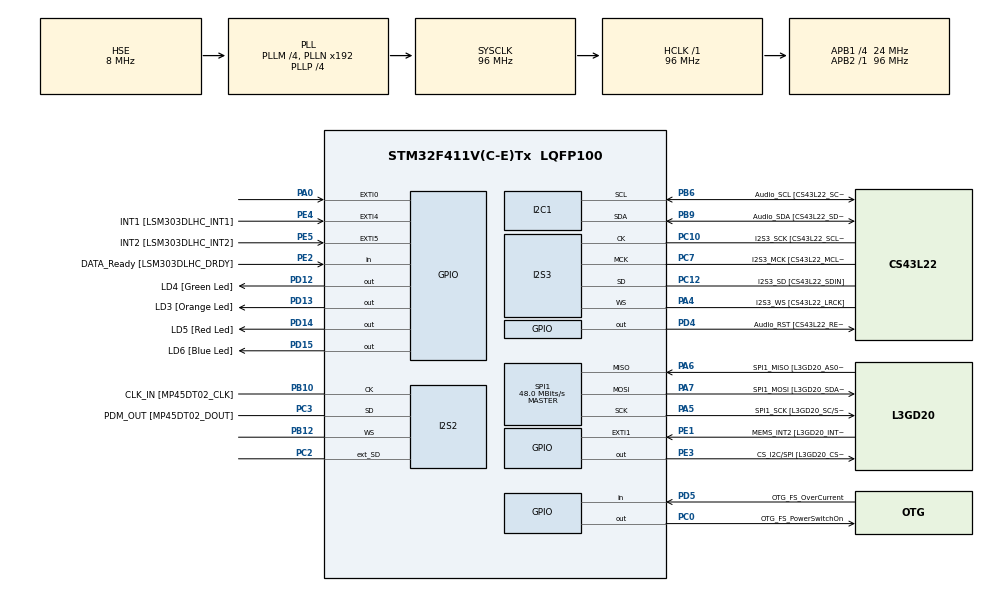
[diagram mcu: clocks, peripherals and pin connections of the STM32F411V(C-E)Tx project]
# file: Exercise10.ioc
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FREERTOS.BinarySemaphores01=CriticalResourceSemaphore,Dynamic,NULL
FREERTOS.Tasks01=GreenLEDTask,0,128,StartGreenLEDTask,Default,NULL,Dynamic,NULL,NULL;RedLEDTask,0,128,StartRedLEDTask,Default,NULL,Dynamic,NULL,NULL;OrangeLEDTask,1,128,StartOrangeLEDTask,Default,NULL,Dynamic,NULL,NULL
I2S2.AudioFreq=I2S_AUDIOFREQ_96K
I2S2.ErrorAudioFreq=0.15 %
I2S2.FullDuplexMode=I2S_FULLDUPLEXMODE_ENABLE
I2S2.Instance=SPI$Index
I2S2.RealAudioFreq=96.153 KHz
I2S2.VirtualMode=I2S_MODE_MASTER
I2S3.AudioFreq=I2S_AUDIOFREQ_96K
I2S3.ErrorAudioFreq=-6.99 %
I2S3.FullDuplexMode=I2S_FULLDUPLEXMODE_DISABLE
I2S3.Instance=SPI$Index
I2S3.RealAudioFreq=89.285 KHz
I2S3.VirtualMode=I2S_MODE_MASTER
Mcu.Family=STM32F4
Mcu.Name=STM32F411V(C-E)Tx
Mcu.Package=LQFP100
NVIC.PriorityGroup=NVIC_PRIORITYGROUP_4
NVIC.TIM1_UP_TIM10_IRQn=true\:0\:0\:false\:false\:true\:false\:false\:true
NVIC.TimeBase=TIM1_UP_TIM10_IRQn
NVIC.TimeBaseIP=TIM1
PA0-WKUP.GPIO_ModeDefaultEXTI=GPIO_MODE_EVT_RISING
PA0-WKUP.Signal=GPXTI0
PA10.GPIO_Label=OTG_FS_ID
PA10.Signal=USB_OTG_FS_ID
PA11.GPIO_Label=OTG_FS_DM
PA11.Signal=USB_OTG_FS_DM
PA12.GPIO_Label=OTG_FS_DP
PA12.Signal=USB_OTG_FS_DP
PA13.GPIO_Label=SWDIO
PA13.Mode=Serial_Wire
PA13.Signal=SYS_JTMS-SWDIO
PA14.GPIO_Label=SWCLK
PA14.Mode=Serial_Wire
PA14.Signal=SYS_JTCK-SWCLK
PA4.GPIO_Label=I2S3_WS [CS43L22_LRCK]
PA4.GPIO_Mode=GPIO_MODE_AF_PP
PA4.GPIO_PuPd=GPIO_NOPULL
PA4.GPIO_Speed=GPIO_SPEED_FREQ_LOW
PA4.Mode=Half_Duplex_Master
PA4.Signal=I2S3_WS
PA5.GPIO_Label=SPI1_SCK [L3GD20_SC/SPC]
PA5.Mode=Full_Duplex_Master
PA5.Signal=SPI1_SCK
PA6.GPIO_Label=SPI1_MISO [L3GD20_AS0/SDO]
PA6.Mode=Full_Duplex_Master
PA6.Signal=SPI1_MISO
PA7.GPIO_Label=SPI1_MOSI [L3GD20_SDA/SDI/SDO]
PA7.Mode=Full_Duplex_Master
PA7.Signal=SPI1_MOSI
PA9.GPIO_Label=VBUS_FS
PA9.Signal=USB_OTG_FS_VBUS
PB10.GPIO_Label=CLK_IN [MP45DT02_CLK]
PB10.Mode=Full_Duplex_Master
PB10.Signal=I2S2_CK
PB12.Mode=Full_Duplex_Master
PB12.Signal=I2S2_WS
PB3.GPIO_Label=SWO
PB3.Signal=SYS_JTDO-SWO
PB6.GPIO_Label=Audio_SCL [CS43L22_SCL]
PB6.GPIO_Mode=GPIO_MODE_AF_OD
PB6.GPIO_PuPd=GPIO_NOPULL
PB6.GPIO_Speed=GPIO_SPEED_FREQ_LOW
PB6.Mode=I2C
PB6.Signal=I2C1_SCL
PB9.GPIO_Label=Audio_SDA [CS43L22_SDA]
PB9.GPIO_Mode=GPIO_MODE_AF_OD
PB9.GPIO_PuPd=GPIO_NOPULL
PB9.GPIO_Speed=GPIO_SPEED_FREQ_LOW
PB9.Mode=I2C
PB9.Signal=I2C1_SDA
PC0.GPIO_Label=OTG_FS_PowerSwitchOn
PC0.PinState=GPIO_PIN_SET
PC0.Signal=GPIO_Output
PC10.GPIO_Label=I2S3_SCK [CS43L22_SCLK]
PC10.GPIO_Mode=GPIO_MODE_AF_PP
PC10.GPIO_PuPd=GPIO_NOPULL
PC10.GPIO_Speed=GPIO_SPEED_FREQ_LOW
PC10.Mode=Half_Duplex_Master
PC10.Signal=I2S3_CK
PC12.GPIO_Label=I2S3_SD [CS43L22_SDIN]
PC12.GPIO_Mode=GPIO_MODE_AF_PP
PC12.GPIO_PuPd=GPIO_NOPULL
PC12.GPIO_Speed=GPIO_SPEED_FREQ_LOW
PC12.Mode=Half_Duplex_Master
PC12.Signal=I2S3_SD
PC14-OSC32_IN.GPIO_Label=PC14-OSC32_IN
PC14-OSC32_IN.Mode=LSE-External-Oscillator
PC14-OSC32_IN.Signal=RCC_OSC32_IN
PC15-OSC32_OUT.GPIO_Label=PC15-OSC32_OUT
PC15-OSC32_OUT.Mode=LSE-External-Oscillator
PC15-OSC32_OUT.Signal=RCC_OSC32_OUT
PC2.Mode=Full_Duplex_Master
PC2.Signal=I2S2_ext_SD
PC3.GPIO_Label=PDM_OUT [MP45DT02_DOUT]
PC3.Mode=Full_Duplex_Master
PC3.Signal=I2S2_SD
PC7.GPIO_Label=I2S3_MCK [CS43L22_MCLK]
PC7.GPIO_Mode=GPIO_MODE_AF_PP
PC7.GPIO_PuPd=GPIO_NOPULL
PC7.GPIO_Speed=GPIO_SPEED_FREQ_LOW
PC7.Mode=Master_Clock_Activated
PC7.Signal=I2S3_MCK
PD12.GPIO_Label=LD4 [Green Led]
PD12.GPIO_PuPd=GPIO_NOPULL
PD12.GPIO_Speed=GPIO_SPEED_FREQ_LOW
PD12.Signal=GPIO_Output
PD13.GPIO_Label=LD3 [Orange Led]
PD13.GPIO_PuPd=GPIO_NOPULL
PD13.GPIO_Speed=GPIO_SPEED_FREQ_LOW
PD13.Signal=GPIO_Output
PD14.GPIO_Label=LD5 [Red Led]
PD14.GPIO_PuPd=GPIO_NOPULL
PD14.GPIO_Speed=GPIO_SPEED_FREQ_LOW
PD14.Signal=GPIO_Output
PD15.GPIO_Label=LD6 [Blue Led]
PD15.GPIO_PuPd=GPIO_NOPULL
PD15.GPIO_Speed=GPIO_SPEED_FREQ_LOW
PD15.Signal=GPIO_Output
PD4.GPIO_Label=Audio_RST [CS43L22_RESET]
PD4.Signal=GPIO_Output
PD5.GPIO_Label=OTG_FS_OverCurrent
PD5.Signal=GPIO_Input
PE1.GPIO_Label=MEMS_INT2 [L3GD20_INT2]
PE1.GPIO_ModeDefaultEXTI=GPIO_MODE_EVT_RISING
PE1.Signal=GPXTI1
PE2.GPIO_Label=DATA_Ready [LSM303DLHC_DRDY]
PE2.Signal=GPIO_Input
PE3.GPIO_Label=CS_I2C/SPI [L3GD20_CS_I2C/SPI]
PE3.Signal=GPIO_Output
PE4.GPIO_Label=INT1 [LSM303DLHC_INT1]
PE4.GPIO_ModeDefaultEXTI=GPIO_MODE_EVT_RISING
PE4.Signal=GPXTI4
PE5.GPIO_Label=INT2 [LSM303DLHC_INT2]
PE5.GPIO_ModeDefaultEXTI=GPIO_MODE_EVT_RISING
PE5.Signal=GPXTI5
PH0\ -\ OSC_IN.GPIO_Label=PH0-OSC_IN
PH0\ -\ OSC_IN.Mode=HSE-External-Oscillator
PH0\ -\ OSC_IN.Signal=RCC_OSC_IN
PH1\ -\ OSC_OUT.GPIO_Label=PH1-OSC_OUT
PH1\ -\ OSC_OUT.Mode=HSE-External-Oscillator
PH1\ -\ OSC_OUT.Signal=RCC_OSC_OUT
ProjectManager.HeapSize=0x200
ProjectManager.StackSize=0x400
ProjectManager.TargetToolchain=STM32CubeIDE
RCC.48MHZClocksFreq_Value=48000000
RCC.AHBFreq_Value=96000000
RCC.APB1CLKDivider=RCC_HCLK_DIV4
RCC.APB1Freq_Value=24000000
RCC.APB1TimFreq_Value=48000000
RCC.APB2Freq_Value=96000000
RCC.APB2TimFreq_Value=96000000
RCC.CortexFreq_Value=96000000
RCC.HCLKFreq_Value=96000000
RCC.HSE_VALUE=8000000
RCC.HSI_VALUE=16000000
RCC.PLLI2SM=5
RCC.PLLI2SN=200
RCC.PLLM=4
RCC.PLLP=RCC_PLLP_DIV4
RCC.PLLQ=8
RCC.PLLSourceVirtual=RCC_PLLSOURCE_HSE
RCC.SYSCLKFreq_VALUE=96000000
RCC.SYSCLKSource=RCC_SYSCLKSOURCE_PLLCLK
RCC.VCOOutputFreq_Value=384000000
SPI1.BaudRatePrescaler=SPI_BAUDRATEPRESCALER_2
SPI1.CalculateBaudRate=48.0 MBits/s
SPI1.Direction=SPI_DIRECTION_2LINES
SPI1.Mode=SPI_MODE_MASTER
SPI1.VirtualType=VM_MASTER
VP_FREERTOS_VS_CMSIS_V1.Mode=CMSIS_V1
VP_SYS_VS_tim1.Mode=TIM1
board=STM32F411E-DISCO

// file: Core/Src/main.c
/* USER CODE BEGIN Header */
/**
  ******************************************************************************
  * @file           : main.c
  * @brief          : Main program body
  ******************************************************************************
  * @attention
  *
  * <h2><center>&copy; Copyright (c) 2024 STMicroelectronics.
  * All rights reserved.</center></h2>
  *
  * This software component is licensed by ST under Ultimate Liberty license
  * SLA0044, the "License"; You may not use this file except in compliance with
  * the License. You may obtain a copy of the License at:
  *                             www.st.com/SLA0044
  *
  ******************************************************************************
  */
/* USER CODE END Header */

#include "main.h"
#include "cmsis_os.h"

I2C_HandleTypeDef hi2c1;

I2S_HandleTypeDef hi2s2;
I2S_HandleTypeDef hi2s3;

SPI_HandleTypeDef hspi1;

osThreadId GreenLEDTaskHandle;
osThreadId RedLEDTaskHandle;
osThreadId OrangeLEDTaskHandle;
osSemaphoreId CriticalResourceSemaphoreHandle;

void SystemClock_Config(void);
static void MX_GPIO_Init(void);
static void MX_I2C1_Init(void);
static void MX_I2S2_Init(void);
static void MX_I2S3_Init(void);
static void MX_SPI1_Init(void);
void StartGreenLEDTask(void const * argument);
void StartRedLEDTask(void const * argument);
void StartOrangeLEDTask(void const * argument);

int main(void)
{

  /* MCU Configuration--------------------------------------------------------*/

  /* Reset of all peripherals, Initializes the Flash interface and the Systick. */
  HAL_Init();

  /* Configure the system clock */
  SystemClock_Config();

  /* Initialize all configured peripherals */
  MX_GPIO_Init();
  MX_I2C1_Init();
  MX_I2S2_Init();
  MX_I2S3_Init();
  MX_SPI1_Init();

  /* Create the semaphores(s) */
  /* definition and creation of CriticalResourceSemaphore */
  osSemaphoreDef(CriticalResourceSemaphore);
  CriticalResourceSemaphoreHandle = osSemaphoreCreate(osSemaphore(CriticalResourceSemaphore), 1);

  /* Create the thread(s) */
  /* definition and creation of GreenLEDTask */
  osThreadDef(GreenLEDTask, StartGreenLEDTask, osPriorityNormal, 0, 128);
  GreenLEDTaskHandle = osThreadCreate(osThread(GreenLEDTask), NULL);

  /* definition and creation of RedLEDTask */
  osThreadDef(RedLEDTask, StartRedLEDTask, osPriorityNormal, 0, 128);
  RedLEDTaskHandle = osThreadCreate(osThread(RedLEDTask), NULL);

  /* definition and creation of OrangeLEDTask */
  osThreadDef(OrangeLEDTask, StartOrangeLEDTask, osPriorityAboveNormal, 0, 128);
  OrangeLEDTaskHandle = osThreadCreate(osThread(OrangeLEDTask), NULL);

  /* Start scheduler */
  osKernelStart();

  /* We should never get here as control is now taken by the scheduler */

  /* Infinite loop */
  while (1)
  {

  }
}

void SystemClock_Config(void)
{
  RCC_OscInitTypeDef RCC_OscInitStruct = {0};
  RCC_ClkInitTypeDef RCC_ClkInitStruct = {0};
  RCC_PeriphCLKInitTypeDef PeriphClkInitStruct = {0};

  /** Configure the main internal regulator output voltage
  */
  __HAL_RCC_PWR_CLK_ENABLE();
  __HAL_PWR_VOLTAGESCALING_CONFIG(PWR_REGULATOR_VOLTAGE_SCALE1);
  /** Initializes the CPU, AHB and APB busses clocks
  */
  RCC_OscInitStruct.OscillatorType = RCC_OSCILLATORTYPE_HSE;
  RCC_OscInitStruct.HSEState = RCC_HSE_ON;
  RCC_OscInitStruct.PLL.PLLState = RCC_PLL_ON;
  RCC_OscInitStruct.PLL.PLLSource = RCC_PLLSOURCE_HSE;
  RCC_OscInitStruct.PLL.PLLM = 4;
  RCC_OscInitStruct.PLL.PLLN = 192;
  RCC_OscInitStruct.PLL.PLLP = RCC_PLLP_DIV4;
  RCC_OscInitStruct.PLL.PLLQ = 8;
  if (HAL_RCC_OscConfig(&RCC_OscInitStruct) != HAL_OK)
  {
    Error_Handler();
  }
  /** Initializes the CPU, AHB and APB busses clocks
  */
  RCC_ClkInitStruct.ClockType = RCC_CLOCKTYPE_HCLK|RCC_CLOCKTYPE_SYSCLK
                              |RCC_CLOCKTYPE_PCLK1|RCC_CLOCKTYPE_PCLK2;
  RCC_ClkInitStruct.SYSCLKSource = RCC_SYSCLKSOURCE_PLLCLK;
  RCC_ClkInitStruct.AHBCLKDivider = RCC_SYSCLK_DIV1;
  RCC_ClkInitStruct.APB1CLKDivider = RCC_HCLK_DIV4;
  RCC_ClkInitStruct.APB2CLKDivider = RCC_HCLK_DIV1;

  if (HAL_RCC_ClockConfig(&RCC_ClkInitStruct, FLASH_LATENCY_3) != HAL_OK)
  {
    Error_Handler();
  }
  PeriphClkInitStruct.PeriphClockSelection = RCC_PERIPHCLK_I2S;
  PeriphClkInitStruct.PLLI2S.PLLI2SN = 200;
  PeriphClkInitStruct.PLLI2S.PLLI2SM = 5;
  PeriphClkInitStruct.PLLI2S.PLLI2SR = 2;
  if (HAL_RCCEx_PeriphCLKConfig(&PeriphClkInitStruct) != HAL_OK)
  {
    Error_Handler();
  }
}

static void MX_I2C1_Init(void)
{

  hi2c1.Instance = I2C1;
  hi2c1.Init.ClockSpeed = 100000;
  hi2c1.Init.DutyCycle = I2C_DUTYCYCLE_2;
  hi2c1.Init.OwnAddress1 = 0;
  hi2c1.Init.AddressingMode = I2C_ADDRESSINGMODE_7BIT;
  hi2c1.Init.DualAddressMode = I2C_DUALADDRESS_DISABLE;
  hi2c1.Init.OwnAddress2 = 0;
  hi2c1.Init.GeneralCallMode = I2C_GENERALCALL_DISABLE;
  hi2c1.Init.NoStretchMode = I2C_NOSTRETCH_DISABLE;
  if (HAL_I2C_Init(&hi2c1) != HAL_OK)
  {
    Error_Handler();
  }

}

static void MX_I2S2_Init(void)
{

  hi2s2.Instance = SPI2;
  hi2s2.Init.Mode = I2S_MODE_MASTER_TX;
  hi2s2.Init.Standard = I2S_STANDARD_PHILIPS;
  hi2s2.Init.DataFormat = I2S_DATAFORMAT_16B;
  hi2s2.Init.MCLKOutput = I2S_MCLKOUTPUT_DISABLE;
  hi2s2.Init.AudioFreq = I2S_AUDIOFREQ_96K;
  hi2s2.Init.CPOL = I2S_CPOL_LOW;
  hi2s2.Init.ClockSource = I2S_CLOCK_PLL;
  hi2s2.Init.FullDuplexMode = I2S_FULLDUPLEXMODE_ENABLE;
  if (HAL_I2S_Init(&hi2s2) != HAL_OK)
  {
    Error_Handler();
  }

}

static void MX_I2S3_Init(void)
{

  hi2s3.Instance = SPI3;
  hi2s3.Init.Mode = I2S_MODE_MASTER_TX;
  hi2s3.Init.Standard = I2S_STANDARD_PHILIPS;
  hi2s3.Init.DataFormat = I2S_DATAFORMAT_16B;
  hi2s3.Init.MCLKOutput = I2S_MCLKOUTPUT_ENABLE;
  hi2s3.Init.AudioFreq = I2S_AUDIOFREQ_96K;
  hi2s3.Init.CPOL = I2S_CPOL_LOW;
  hi2s3.Init.ClockSource = I2S_CLOCK_PLL;
  hi2s3.Init.FullDuplexMode = I2S_FULLDUPLEXMODE_DISABLE;
  if (HAL_I2S_Init(&hi2s3) != HAL_OK)
  {
    Error_Handler();
  }

}

static void MX_SPI1_Init(void)
{

  /* SPI1 parameter configuration*/
  hspi1.Instance = SPI1;
  hspi1.Init.Mode = SPI_MODE_MASTER;
  hspi1.Init.Direction = SPI_DIRECTION_2LINES;
  hspi1.Init.DataSize = SPI_DATASIZE_8BIT;
  hspi1.Init.CLKPolarity = SPI_POLARITY_LOW;
  hspi1.Init.CLKPhase = SPI_PHASE_1EDGE;
  hspi1.Init.NSS = SPI_NSS_SOFT;
  hspi1.Init.BaudRatePrescaler = SPI_BAUDRATEPRESCALER_2;
  hspi1.Init.FirstBit = SPI_FIRSTBIT_MSB;
  hspi1.Init.TIMode = SPI_TIMODE_DISABLE;
  hspi1.Init.CRCCalculation = SPI_CRCCALCULATION_DISABLE;
  hspi1.Init.CRCPolynomial = 10;
  if (HAL_SPI_Init(&hspi1) != HAL_OK)
  {
    Error_Handler();
  }

}

static void MX_GPIO_Init(void)
{
  GPIO_InitTypeDef GPIO_InitStruct = {0};

  /* GPIO Ports Clock Enable */
  __HAL_RCC_GPIOE_CLK_ENABLE();
  __HAL_RCC_GPIOC_CLK_ENABLE();
  __HAL_RCC_GPIOH_CLK_ENABLE();
  __HAL_RCC_GPIOA_CLK_ENABLE();
  __HAL_RCC_GPIOB_CLK_ENABLE();
  __HAL_RCC_GPIOD_CLK_ENABLE();

  /*Configure GPIO pin Output Level */
  HAL_GPIO_WritePin(CS_I2C_SPI_GPIO_Port, CS_I2C_SPI_Pin, GPIO_PIN_RESET);

  /*Configure GPIO pin Output Level */
  HAL_GPIO_WritePin(OTG_FS_PowerSwitchOn_GPIO_Port, OTG_FS_PowerSwitchOn_Pin, GPIO_PIN_SET);

  /*Configure GPIO pin Output Level */
  HAL_GPIO_WritePin(GPIOD, LD4_Pin|LD3_Pin|LD5_Pin|LD6_Pin
                          |Audio_RST_Pin, GPIO_PIN_RESET);

  /*Configure GPIO pin : DATA_Ready_Pin */
  GPIO_InitStruct.Pin = DATA_Ready_Pin;
  GPIO_InitStruct.Mode = GPIO_MODE_INPUT;
  GPIO_InitStruct.Pull = GPIO_NOPULL;
  HAL_GPIO_Init(DATA_Ready_GPIO_Port, &GPIO_InitStruct);

  /*Configure GPIO pin : CS_I2C_SPI_Pin */
  GPIO_InitStruct.Pin = CS_I2C_SPI_Pin;
  GPIO_InitStruct.Mode = GPIO_MODE_OUTPUT_PP;
  GPIO_InitStruct.Pull = GPIO_NOPULL;
  GPIO_InitStruct.Speed = GPIO_SPEED_FREQ_LOW;
  HAL_GPIO_Init(CS_I2C_SPI_GPIO_Port, &GPIO_InitStruct);

  /*Configure GPIO pins : INT1_Pin INT2_Pin MEMS_INT2_Pin */
  GPIO_InitStruct.Pin = INT1_Pin|INT2_Pin|MEMS_INT2_Pin;
  GPIO_InitStruct.Mode = GPIO_MODE_EVT_RISING;
  GPIO_InitStruct.Pull = GPIO_NOPULL;
  HAL_GPIO_Init(GPIOE, &GPIO_InitStruct);

  /*Configure GPIO pin : OTG_FS_PowerSwitchOn_Pin */
  GPIO_InitStruct.Pin = OTG_FS_PowerSwitchOn_Pin;
  GPIO_InitStruct.Mode = GPIO_MODE_OUTPUT_PP;
  GPIO_InitStruct.Pull = GPIO_NOPULL;
  GPIO_InitStruct.Speed = GPIO_SPEED_FREQ_LOW;
  HAL_GPIO_Init(OTG_FS_PowerSwitchOn_GPIO_Port, &GPIO_InitStruct);

  /*Configure GPIO pin : PA0 */
  GPIO_InitStruct.Pin = GPIO_PIN_0;
  GPIO_InitStruct.Mode = GPIO_MODE_EVT_RISING;
  GPIO_InitStruct.Pull = GPIO_NOPULL;
  HAL_GPIO_Init(GPIOA, &GPIO_InitStruct);

  /*Configure GPIO pins : LD4_Pin LD3_Pin LD5_Pin LD6_Pin
                           Audio_RST_Pin */
  GPIO_InitStruct.Pin = LD4_Pin|LD3_Pin|LD5_Pin|LD6_Pin
                          |Audio_RST_Pin;
  GPIO_InitStruct.Mode = GPIO_MODE_OUTPUT_PP;
  GPIO_InitStruct.Pull = GPIO_NOPULL;
  GPIO_InitStruct.Speed = GPIO_SPEED_FREQ_LOW;
  HAL_GPIO_Init(GPIOD, &GPIO_InitStruct);

  /*Configure GPIO pin : VBUS_FS_Pin */
  GPIO_InitStruct.Pin = VBUS_FS_Pin;
  GPIO_InitStruct.Mode = GPIO_MODE_INPUT;
  GPIO_InitStruct.Pull = GPIO_NOPULL;
  HAL_GPIO_Init(VBUS_FS_GPIO_Port, &GPIO_InitStruct);

  /*Configure GPIO pins : OTG_FS_ID_Pin OTG_FS_DM_Pin OTG_FS_DP_Pin */
  GPIO_InitStruct.Pin = OTG_FS_ID_Pin|OTG_FS_DM_Pin|OTG_FS_DP_Pin;
  GPIO_InitStruct.Mode = GPIO_MODE_AF_PP;
  GPIO_InitStruct.Pull = GPIO_NOPULL;
  GPIO_InitStruct.Speed = GPIO_SPEED_FREQ_VERY_HIGH;
  GPIO_InitStruct.Alternate = GPIO_AF10_OTG_FS;
  HAL_GPIO_Init(GPIOA, &GPIO_InitStruct);

  /*Configure GPIO pin : OTG_FS_OverCurrent_Pin */
  GPIO_InitStruct.Pin = OTG_FS_OverCurrent_Pin;
  GPIO_InitStruct.Mode = GPIO_MODE_INPUT;
  GPIO_InitStruct.Pull = GPIO_NOPULL;
  HAL_GPIO_Init(OTG_FS_OverCurrent_GPIO_Port, &GPIO_InitStruct);

}

/* USER CODE BEGIN 4 */
int Start_Flag = 1;
void AccessSharedData()
{
	osSemaphoreWait(CriticalResourceSemaphoreHandle, osWaitForever);
	if (Start_Flag == 1)
	{
		Start_Flag = 0;
	}
	else
	{
		HAL_GPIO_TogglePin(GPIOD, GPIO_PIN_15);
	}
	for(int i = 0; i < 2000000; ++i);
	Start_Flag = 1;
	osSemaphoreRelease(CriticalResourceSemaphoreHandle);
	return;
}
/* USER CODE END 4 */

void StartGreenLEDTask(void const * argument)
{
  /* USER CODE BEGIN 5 */
  /* Infinite loop */
  for(;;)
  {
	  HAL_GPIO_WritePin(GPIOD, GPIO_PIN_12, GPIO_PIN_SET);// turn green led on
	  AccessSharedData();
	  osDelay(200);// 200 ms delay
	  HAL_GPIO_WritePin(GPIOD, GPIO_PIN_12, GPIO_PIN_RESET);//turn green led off
	  osDelay(200);// 200 ms delay
  }
  /* USER CODE END 5 */
}

void StartRedLEDTask(void const * argument)
{
  /* USER CODE BEGIN StartRedLEDTask */
  /* Infinite loop */
  for(;;)
  {
	HAL_GPIO_WritePin(GPIOD, GPIO_PIN_14, GPIO_PIN_SET);// turn red led on
	AccessSharedData();
	osDelay(550);//550 ms delay
	HAL_GPIO_WritePin(GPIOD, GPIO_PIN_14, GPIO_PIN_RESET);//turn red led off
	osDelay(550);//550 ms delay
  }
  /* USER CODE END StartRedLEDTask */
}

void StartOrangeLEDTask(void const * argument)
{
  /* USER CODE BEGIN StartOrangeLEDTask */
  /* Infinite loop */
  for(;;)
  {
	  HAL_GPIO_TogglePin(GPIOD, GPIO_PIN_13);// toggle orange led
	  osDelay(50); // 50mS Delay
  }
  /* USER CODE END StartOrangeLEDTask */
}

void HAL_TIM_PeriodElapsedCallback(TIM_HandleTypeDef *htim)
{
  if (htim->Instance == TIM1) {
    HAL_IncTick();
  }
}

void Error_Handler(void)
{
}

/************************ (C) COPYRIGHT STMicroelectronics *****END OF FILE****/
